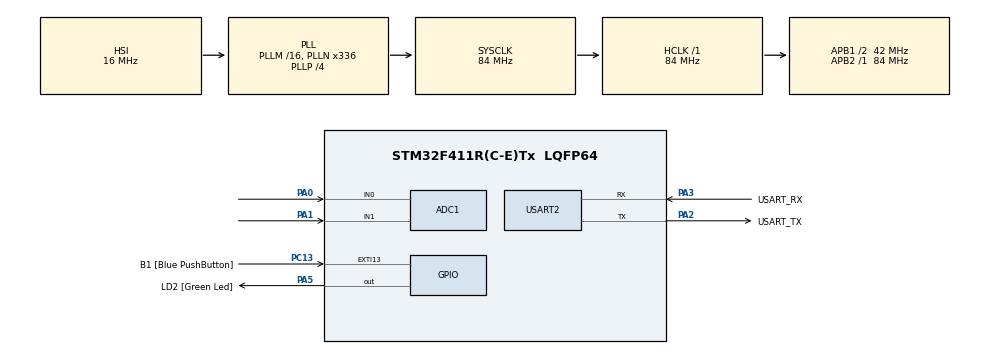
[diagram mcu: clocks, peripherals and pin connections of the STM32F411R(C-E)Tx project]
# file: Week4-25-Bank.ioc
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ADC1.Channel-0\#ChannelRegularConversion=ADC_CHANNEL_0
ADC1.Channel-1\#ChannelRegularConversion=ADC_CHANNEL_1
ADC1.Channel-2\#ChannelRegularConversion=ADC_CHANNEL_TEMPSENSOR
ADC1.Channel-3\#ChannelRegularConversion=ADC_CHANNEL_VREFINT
ADC1.ContinuousConvMode=ENABLE
ADC1.DMAContinuousRequests=ENABLE
ADC1.NbrOfConversion=4
ADC1.NbrOfConversionFlag=1
ADC1.Rank-0\#ChannelRegularConversion=1
ADC1.Rank-1\#ChannelRegularConversion=2
ADC1.Rank-2\#ChannelRegularConversion=3
ADC1.Rank-3\#ChannelRegularConversion=4
ADC1.SamplingTime-0\#ChannelRegularConversion=ADC_SAMPLETIME_480CYCLES
ADC1.SamplingTime-1\#ChannelRegularConversion=ADC_SAMPLETIME_480CYCLES
ADC1.SamplingTime-2\#ChannelRegularConversion=ADC_SAMPLETIME_480CYCLES
ADC1.SamplingTime-3\#ChannelRegularConversion=ADC_SAMPLETIME_480CYCLES
ADC1.ScanConvMode=ENABLE
ADC1.master=1
Dma.ADC1.0.Direction=DMA_PERIPH_TO_MEMORY
Dma.ADC1.0.FIFOMode=DMA_FIFOMODE_DISABLE
Dma.ADC1.0.Instance=DMA2_Stream0
Dma.ADC1.0.MemDataAlignment=DMA_MDATAALIGN_WORD
Dma.ADC1.0.MemInc=DMA_MINC_ENABLE
Dma.ADC1.0.Mode=DMA_CIRCULAR
Dma.ADC1.0.PeriphDataAlignment=DMA_PDATAALIGN_WORD
Dma.ADC1.0.PeriphInc=DMA_PINC_DISABLE
Dma.ADC1.0.Priority=DMA_PRIORITY_LOW
Dma.Request0=ADC1
Mcu.Family=STM32F4
Mcu.Name=STM32F411R(C-E)Tx
Mcu.Package=LQFP64
NVIC.DMA2_Stream0_IRQn=true\:0\:0\:false\:false\:true\:false\:true
NVIC.EXTI15_10_IRQn=true\:0\:0\:false\:false\:true\:true\:true
NVIC.PriorityGroup=NVIC_PRIORITYGROUP_0
PA0-WKUP.Signal=ADCx_IN0
PA1.Signal=ADCx_IN1
PA13.GPIO_Label=TMS
PA13.Mode=Serial_Wire
PA13.Signal=SYS_JTMS-SWDIO
PA14.GPIO_Label=TCK
PA14.Mode=Serial_Wire
PA14.Signal=SYS_JTCK-SWCLK
PA2.GPIO_Label=USART_TX
PA2.Mode=Asynchronous
PA2.Signal=USART2_TX
PA3.GPIO_Label=USART_RX
PA3.Mode=Asynchronous
PA3.Signal=USART2_RX
PA5.GPIO_Label=LD2 [Green Led]
PA5.Signal=GPIO_Output
PB3.GPIO_Label=SWO
PB3.Signal=SYS_JTDO-SWO
PC13-ANTI_TAMP.GPIO_Label=B1 [Blue PushButton]
PC13-ANTI_TAMP.GPIO_ModeDefaultEXTI=GPIO_MODE_IT_FALLING
PC13-ANTI_TAMP.GPIO_PuPd=GPIO_PULLUP
PC13-ANTI_TAMP.Signal=GPXTI13
PC14-OSC32_IN.Mode=LSE-External-Oscillator
PC14-OSC32_IN.Signal=RCC_OSC32_IN
PC15-OSC32_OUT.Mode=LSE-External-Oscillator
PC15-OSC32_OUT.Signal=RCC_OSC32_OUT
PH0\ -\ OSC_IN.Mode=HSE-External-Clock-Source
PH0\ -\ OSC_IN.Signal=RCC_OSC_IN
PH1\ -\ OSC_OUT.Mode=HSE-External-Clock-Source
PH1\ -\ OSC_OUT.Signal=RCC_OSC_OUT
ProjectManager.HeapSize=0x200
ProjectManager.StackSize=0x400
ProjectManager.TargetToolchain=STM32CubeIDE
RCC.48MHZClocksFreq_Value=84000000
RCC.AHBFreq_Value=84000000
RCC.APB1CLKDivider=RCC_HCLK_DIV2
RCC.APB1Freq_Value=42000000
RCC.APB1TimFreq_Value=84000000
RCC.APB2Freq_Value=84000000
RCC.APB2TimFreq_Value=84000000
RCC.CortexFreq_Value=84000000
RCC.FLatency-AdvancedSettings=FLASH_LATENCY_2
RCC.HCLKFreq_Value=84000000
RCC.HSE_VALUE=8000000
RCC.HSI_VALUE=16000000
RCC.PLLN=336
RCC.PLLP=RCC_PLLP_DIV4
RCC.SYSCLKFreq_VALUE=84000000
RCC.SYSCLKSource=RCC_SYSCLKSOURCE_PLLCLK
RCC.VCOOutputFreq_Value=336000000
SH.ADCx_IN0.0=ADC1_IN0,IN0
SH.ADCx_IN1.0=ADC1_IN1,IN1
USART2.VirtualMode=VM_ASYNC
VP_ADC1_TempSens_Input.Mode=IN-TempSens
VP_ADC1_Vref_Input.Mode=IN-Vrefint
board=NUCLEO-F411RE

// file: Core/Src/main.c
/* USER CODE BEGIN Header */
/**
  ******************************************************************************
  * @file           : main.c
  * @brief          : Main program body
  ******************************************************************************
  * @attention
  *
  * <h2><center>&copy; Copyright (c) 2021 STMicroelectronics.
  * All rights reserved.</center></h2>
  *
  * This software component is licensed by ST under BSD 3-Clause license,
  * the "License"; You may not use this file except in compliance with the
  * License. You may obtain a copy of the License at:
  *                        opensource.org/licenses/BSD-3-Clause
  *
  ******************************************************************************
  */
/* USER CODE END Header */
#include "main.h"

ADC_HandleTypeDef hadc1;
DMA_HandleTypeDef hdma_adc1;

UART_HandleTypeDef huart2;

/* USER CODE BEGIN PV */
uint32_t ADCData[4]={0};     //week
uint32_t TimeStamp = 0;
uint32_t mode = 0;
uint32_t Timer = 0;
uint32_t TimeStampForTimer = 0;
GPIO_PinState SwitchState[2];
uint32_t lookgettick = 0;
/* USER CODE END PV */

void SystemClock_Config(void);
static void MX_GPIO_Init(void);
static void MX_DMA_Init(void);
static void MX_USART2_UART_Init(void);
static void MX_ADC1_Init(void);

int main(void)
{

  /* MCU Configuration--------------------------------------------------------*/

  /* Reset of all peripherals, Initializes the Flash interface and the Systick. */
  HAL_Init();

  /* Configure the system clock */
  SystemClock_Config();

  /* Initialize all configured peripherals */
  MX_GPIO_Init();
  MX_DMA_Init();
  MX_USART2_UART_Init();
  MX_ADC1_Init();
  /* USER CODE BEGIN 2 */
  HAL_ADC_Start_DMA(&hadc1, ADCData, 4);      //week

  //uint32_t mode = 0;

  /* USER CODE END 2 */

  /* Infinite loop */
  /* USER CODE BEGIN WHILE */
  while (1)    //ถ้าไม่กด interrupt โปรเเกรมจะทำงานใน while ไปเรื่อยๆ เเต่ถ้ากด interrupt โปรเเกรมจะไปทำใน function void เเละเมื่อทำเสร็จก็จะกลับมาที่ while ต่อ
  {
    /* USER CODE END WHILE */    //เท่าที่ดูเหมือนว่ามันจะเข้า function void เมื่อกดเท่านั้นปล่อยเหมือนจะไม่เข้า

    /* USER CODE BEGIN 3 */
	  //if(HAL_GetTick() - TimeStamp >= (1000+(((22695477*ADCData[0])+ADCData[1])%10000)))
	  //{
		  //HAL_GPIO_WritePin(GPIOA, GPIO_PIN_9, GPIO_PIN_RESET);
	  //}
	  //if(HAL_GetTick() - TimeStamp >= 1000)
	  //{
		  //HAL_GPIO_WritePin(GPIOA, GPIO_PIN_5, GPIO_PIN_RESET);
	  //}
	  lookgettick = HAL_GetTick();
	  SwitchState[0] = HAL_GPIO_ReadPin(GPIOC, GPIO_PIN_13);
	  if(mode == 2)
	  {
		  if(HAL_GetTick() - TimeStamp >= (1000 + (((22695477*ADCData[0])+ADCData[1])%10000)))
		  {
			  HAL_GPIO_WritePin(GPIOA, GPIO_PIN_5, GPIO_PIN_SET);
			  TimeStampForTimer = HAL_GetTick();
			  mode = 3;
		  }
	  }
	  //ตอนปล่อยปุ่มสีฟ้าบนบอร์ด case ข้างล่างนี้
	  else if(SwitchState[0] == GPIO_PIN_SET && SwitchState[1] == GPIO_PIN_RESET && mode == 3)
	  {
		  Timer = HAL_GetTick() - TimeStampForTimer;
		  mode = 4;
	  }
	  SwitchState[1] = SwitchState[0];
	  //if(SwitchState[0] == GPIO_PIN_SET && SwitchState[1] == GPIO_PIN_RESET)
	  //{
		  //mode = 3;
		  //Timer = HAL_GetTick() - TimeStampForTimer;
	  //}
	  //SwitchState[1] = SwitchState[0];

  }
  /* USER CODE END 3 */
}

void SystemClock_Config(void)
{
  RCC_OscInitTypeDef RCC_OscInitStruct = {0};
  RCC_ClkInitTypeDef RCC_ClkInitStruct = {0};

  /** Configure the main internal regulator output voltage
  */
  __HAL_RCC_PWR_CLK_ENABLE();
  __HAL_PWR_VOLTAGESCALING_CONFIG(PWR_REGULATOR_VOLTAGE_SCALE1);
  /** Initializes the RCC Oscillators according to the specified parameters
  * in the RCC_OscInitTypeDef structure.
  */
  RCC_OscInitStruct.OscillatorType = RCC_OSCILLATORTYPE_HSI;
  RCC_OscInitStruct.HSIState = RCC_HSI_ON;
  RCC_OscInitStruct.HSICalibrationValue = RCC_HSICALIBRATION_DEFAULT;
  RCC_OscInitStruct.PLL.PLLState = RCC_PLL_ON;
  RCC_OscInitStruct.PLL.PLLSource = RCC_PLLSOURCE_HSI;
  RCC_OscInitStruct.PLL.PLLM = 16;
  RCC_OscInitStruct.PLL.PLLN = 336;
  RCC_OscInitStruct.PLL.PLLP = RCC_PLLP_DIV4;
  RCC_OscInitStruct.PLL.PLLQ = 4;
  if (HAL_RCC_OscConfig(&RCC_OscInitStruct) != HAL_OK)
  {
    Error_Handler();
  }
  /** Initializes the CPU, AHB and APB buses clocks
  */
  RCC_ClkInitStruct.ClockType = RCC_CLOCKTYPE_HCLK|RCC_CLOCKTYPE_SYSCLK
                              |RCC_CLOCKTYPE_PCLK1|RCC_CLOCKTYPE_PCLK2;
  RCC_ClkInitStruct.SYSCLKSource = RCC_SYSCLKSOURCE_PLLCLK;
  RCC_ClkInitStruct.AHBCLKDivider = RCC_SYSCLK_DIV1;
  RCC_ClkInitStruct.APB1CLKDivider = RCC_HCLK_DIV2;
  RCC_ClkInitStruct.APB2CLKDivider = RCC_HCLK_DIV1;

  if (HAL_RCC_ClockConfig(&RCC_ClkInitStruct, FLASH_LATENCY_2) != HAL_OK)
  {
    Error_Handler();
  }
}

static void MX_ADC1_Init(void)
{

  ADC_ChannelConfTypeDef sConfig = {0};

  /** Configure the global features of the ADC (Clock, Resolution, Data Alignment and number of conversion)
  */
  hadc1.Instance = ADC1;
  hadc1.Init.ClockPrescaler = ADC_CLOCK_SYNC_PCLK_DIV4;
  hadc1.Init.Resolution = ADC_RESOLUTION_12B;
  hadc1.Init.ScanConvMode = ENABLE;
  hadc1.Init.ContinuousConvMode = ENABLE;
  hadc1.Init.DiscontinuousConvMode = DISABLE;
  hadc1.Init.ExternalTrigConvEdge = ADC_EXTERNALTRIGCONVEDGE_NONE;
  hadc1.Init.ExternalTrigConv = ADC_SOFTWARE_START;
  hadc1.Init.DataAlign = ADC_DATAALIGN_RIGHT;
  hadc1.Init.NbrOfConversion = 4;
  hadc1.Init.DMAContinuousRequests = ENABLE;
  hadc1.Init.EOCSelection = ADC_EOC_SINGLE_CONV;
  if (HAL_ADC_Init(&hadc1) != HAL_OK)
  {
    Error_Handler();
  }
  /** Configure for the selected ADC regular channel its corresponding rank in the sequencer and its sample time.
  */
  sConfig.Channel = ADC_CHANNEL_0;
  sConfig.Rank = 1;
  sConfig.SamplingTime = ADC_SAMPLETIME_480CYCLES;
  if (HAL_ADC_ConfigChannel(&hadc1, &sConfig) != HAL_OK)
  {
    Error_Handler();
  }
  /** Configure for the selected ADC regular channel its corresponding rank in the sequencer and its sample time.
  */
  sConfig.Channel = ADC_CHANNEL_1;
  sConfig.Rank = 2;
  if (HAL_ADC_ConfigChannel(&hadc1, &sConfig) != HAL_OK)
  {
    Error_Handler();
  }
  /** Configure for the selected ADC regular channel its corresponding rank in the sequencer and its sample time.
  */
  sConfig.Channel = ADC_CHANNEL_TEMPSENSOR;
  sConfig.Rank = 3;
  if (HAL_ADC_ConfigChannel(&hadc1, &sConfig) != HAL_OK)
  {
    Error_Handler();
  }
  /** Configure for the selected ADC regular channel its corresponding rank in the sequencer and its sample time.
  */
  sConfig.Channel = ADC_CHANNEL_VREFINT;
  sConfig.Rank = 4;
  if (HAL_ADC_ConfigChannel(&hadc1, &sConfig) != HAL_OK)
  {
    Error_Handler();
  }

}

static void MX_USART2_UART_Init(void)
{

  huart2.Instance = USART2;
  huart2.Init.BaudRate = 115200;
  huart2.Init.WordLength = UART_WORDLENGTH_8B;
  huart2.Init.StopBits = UART_STOPBITS_1;
  huart2.Init.Parity = UART_PARITY_NONE;
  huart2.Init.Mode = UART_MODE_TX_RX;
  huart2.Init.HwFlowCtl = UART_HWCONTROL_NONE;
  huart2.Init.OverSampling = UART_OVERSAMPLING_16;
  if (HAL_UART_Init(&huart2) != HAL_OK)
  {
    Error_Handler();
  }

}

static void MX_DMA_Init(void)
{

  /* DMA controller clock enable */
  __HAL_RCC_DMA2_CLK_ENABLE();

  /* DMA interrupt init */
  /* DMA2_Stream0_IRQn interrupt configuration */
  HAL_NVIC_SetPriority(DMA2_Stream0_IRQn, 0, 0);
  HAL_NVIC_EnableIRQ(DMA2_Stream0_IRQn);

}

static void MX_GPIO_Init(void)
{
  GPIO_InitTypeDef GPIO_InitStruct = {0};

  /* GPIO Ports Clock Enable */
  __HAL_RCC_GPIOC_CLK_ENABLE();
  __HAL_RCC_GPIOH_CLK_ENABLE();
  __HAL_RCC_GPIOA_CLK_ENABLE();
  __HAL_RCC_GPIOB_CLK_ENABLE();

  /*Configure GPIO pin Output Level */
  HAL_GPIO_WritePin(LD2_GPIO_Port, LD2_Pin, GPIO_PIN_RESET);

  /*Configure GPIO pin : B1_Pin */
  GPIO_InitStruct.Pin = B1_Pin;
  GPIO_InitStruct.Mode = GPIO_MODE_IT_FALLING;
  GPIO_InitStruct.Pull = GPIO_PULLUP;
  HAL_GPIO_Init(B1_GPIO_Port, &GPIO_InitStruct);

  /*Configure GPIO pin : LD2_Pin */
  GPIO_InitStruct.Pin = LD2_Pin;
  GPIO_InitStruct.Mode = GPIO_MODE_OUTPUT_PP;
  GPIO_InitStruct.Pull = GPIO_NOPULL;
  GPIO_InitStruct.Speed = GPIO_SPEED_FREQ_LOW;
  HAL_GPIO_Init(LD2_GPIO_Port, &GPIO_InitStruct);

  /* EXTI interrupt init*/
  HAL_NVIC_SetPriority(EXTI15_10_IRQn, 0, 0);
  HAL_NVIC_EnableIRQ(EXTI15_10_IRQn);

}

/* USER CODE BEGIN 4 */
void HAL_GPIO_EXTI_Callback(uint16_t GPIO_Pin)   //week //อันนี้ผิด : เข้าทั้ง กด เเละ ปล่อย  //อันนี้ถูก : เหมือนจะเข้าเเค่กด
{
	//if(mode == 0)
	//{
		if(GPIO_Pin == GPIO_PIN_13)     //week //เข้าต่อเมื่อกดเท่านั้น
		{
			//HAL_GPIO_TogglePin(LD2_GPIO_Port, LD2_Pin);  //week
			//TimeStamp = HAL_GetTick()
			if(mode == 0)
			{
				HAL_GPIO_TogglePin(LD2_GPIO_Port, LD2_Pin);
				if(HAL_GPIO_ReadPin(GPIOA, GPIO_PIN_5) == GPIO_PIN_SET)
				{
					mode = 1;
				}
			}
			else if(mode == 1)
			{
				HAL_GPIO_WritePin(GPIOA, GPIO_PIN_5, GPIO_PIN_RESET);
				mode = 2;
				TimeStamp = HAL_GetTick();
			}

		}
		//if(mode == 3)
		//{
			//Timer = HAL_GetTick() - TimeStampForTimer;
		//}
	//}
	//else
	//{

//	}

}
/* USER CODE END 4 */

void Error_Handler(void)
{
  __disable_irq();
  while (1)
  {
  }
}

/************************ (C) COPYRIGHT STMicroelectronics *****END OF FILE****/
